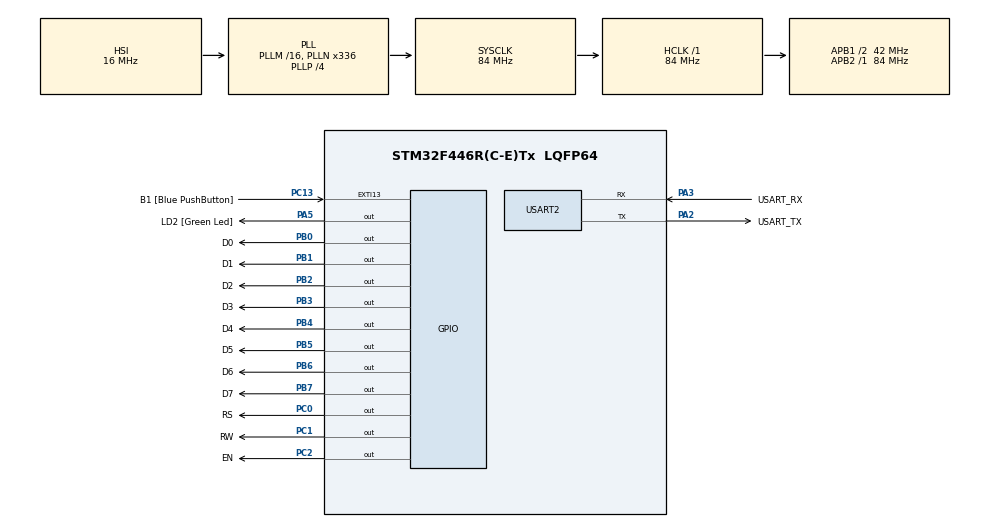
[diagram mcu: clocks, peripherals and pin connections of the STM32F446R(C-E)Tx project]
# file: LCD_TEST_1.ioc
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Mcu.Family=STM32F4
Mcu.Name=STM32F446R(C-E)Tx
Mcu.Package=LQFP64
NVIC.PriorityGroup=NVIC_PRIORITYGROUP_0
PA13.GPIO_Label=TMS
PA13.Mode=Serial_Wire
PA13.Signal=SYS_JTMS-SWDIO
PA14.GPIO_Label=TCK
PA14.Mode=Serial_Wire
PA14.Signal=SYS_JTCK-SWCLK
PA2.GPIO_Label=USART_TX
PA2.Mode=Asynchronous
PA2.Signal=USART2_TX
PA3.GPIO_Label=USART_RX
PA3.Mode=Asynchronous
PA3.Signal=USART2_RX
PA5.GPIO_Label=LD2 [Green Led]
PA5.Signal=GPIO_Output
PB0.GPIO_Label=D0
PB0.Signal=GPIO_Output
PB1.GPIO_Label=D1
PB1.Signal=GPIO_Output
PB2.GPIO_Label=D2
PB2.Signal=GPIO_Output
PB3.GPIO_Label=D3
PB3.Signal=GPIO_Output
PB4.GPIO_Label=D4
PB4.Signal=GPIO_Output
PB5.GPIO_Label=D5
PB5.Signal=GPIO_Output
PB6.GPIO_Label=D6
PB6.Signal=GPIO_Output
PB7.GPIO_Label=D7
PB7.Signal=GPIO_Output
PC0.GPIO_Label=RS
PC0.Signal=GPIO_Output
PC1.GPIO_Label=RW
PC1.Signal=GPIO_Output
PC13.GPIO_Label=B1 [Blue PushButton]
PC13.GPIO_ModeDefaultEXTI=GPIO_MODE_IT_FALLING
PC13.Signal=GPXTI13
PC14-OSC32_IN.Mode=LSE-External-Oscillator
PC14-OSC32_IN.Signal=RCC_OSC32_IN
PC15-OSC32_OUT.Mode=LSE-External-Oscillator
PC15-OSC32_OUT.Signal=RCC_OSC32_OUT
PC2.GPIO_Label=EN
PC2.Signal=GPIO_Output
PH0-OSC_IN.Mode=HSE-External-Oscillator
PH0-OSC_IN.Signal=RCC_OSC_IN
PH1-OSC_OUT.Mode=HSE-External-Oscillator
PH1-OSC_OUT.Signal=RCC_OSC_OUT
ProjectManager.HeapSize=0x200
ProjectManager.StackSize=0x400
ProjectManager.TargetToolchain=STM32CubeIDE
RCC.48MHZClocksFreq_Value=84000000
RCC.AHBFreq_Value=84000000
RCC.APB1CLKDivider=RCC_HCLK_DIV2
RCC.APB1Freq_Value=42000000
RCC.APB1TimFreq_Value=84000000
RCC.APB2Freq_Value=84000000
RCC.APB2TimFreq_Value=84000000
RCC.CortexFreq_Value=84000000
RCC.FLatency-AdvancedSettings=FLASH_LATENCY_2
RCC.HCLKFreq_Value=84000000
RCC.HSE_VALUE=8000000
RCC.HSI_VALUE=16000000
RCC.PLLN=336
RCC.PLLP=RCC_PLLP_DIV4
RCC.SYSCLKFreq_VALUE=84000000
RCC.SYSCLKSource=RCC_SYSCLKSOURCE_PLLCLK
RCC.USBFreq_Value=168000000
RCC.VCOOutputFreq_Value=336000000
USART2.VirtualMode=VM_ASYNC
board=NUCLEO-F446RE

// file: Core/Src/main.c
/* USER CODE BEGIN Header */
/**
  ******************************************************************************
  * @file           : main.c
  * @brief          : Main program body
  ******************************************************************************
  * @attention
  *
  * Copyright (c) 2023 STMicroelectronics.
  * All rights reserved.
  *
  * This software is licensed under terms that can be found in the LICENSE file
  * in the root directory of this software component.
  * If no LICENSE file comes with this software, it is provided AS-IS.
  *
  ******************************************************************************
  */
/* USER CODE END Header */
#include "main.h"

/* USER CODE BEGIN PTD */
typedef union {

	struct {

		uint8_t b0:1;
		uint8_t b1:1;
		uint8_t b2:1;
		uint8_t b3:1;
		uint8_t b4:1;
		uint8_t b5:1;
		uint8_t b6:1;
		uint8_t b7:1;

	};

	uint8_t x;
}Typedef_PinConfig;
/* USER CODE END PTD */

UART_HandleTypeDef huart2;

void SystemClock_Config(void);
static void MX_GPIO_Init(void);
static void MX_USART2_UART_Init(void);
/* USER CODE BEGIN PFP */
void data_write(uint8_t d);
void lcd_data(uint8_t data);
void lcd_cmd(uint8_t cmd);
void lcd_init( void );
/* USER CODE END PFP */

int main(void)
{

  /* MCU Configuration--------------------------------------------------------*/

  /* Reset of all peripherals, Initializes the Flash interface and the Systick. */
  HAL_Init();

  /* Configure the system clock */
  SystemClock_Config();

  /* Initialize all configured peripherals */
  MX_GPIO_Init();
  MX_USART2_UART_Init();
  /* USER CODE BEGIN 2 */
  lcd_init();
  /* USER CODE END 2 */

  /* Infinite loop */
  /* USER CODE BEGIN WHILE */
  while (1)
  {
	  lcd_data('A');
    /* USER CODE END WHILE */

  }
}

void SystemClock_Config(void)
{
  RCC_OscInitTypeDef RCC_OscInitStruct = {0};
  RCC_ClkInitTypeDef RCC_ClkInitStruct = {0};

  /** Configure the main internal regulator output voltage
  */
  __HAL_RCC_PWR_CLK_ENABLE();
  __HAL_PWR_VOLTAGESCALING_CONFIG(PWR_REGULATOR_VOLTAGE_SCALE3);

  /** Initializes the RCC Oscillators according to the specified parameters
  * in the RCC_OscInitTypeDef structure.
  */
  RCC_OscInitStruct.OscillatorType = RCC_OSCILLATORTYPE_HSI;
  RCC_OscInitStruct.HSIState = RCC_HSI_ON;
  RCC_OscInitStruct.HSICalibrationValue = RCC_HSICALIBRATION_DEFAULT;
  RCC_OscInitStruct.PLL.PLLState = RCC_PLL_ON;
  RCC_OscInitStruct.PLL.PLLSource = RCC_PLLSOURCE_HSI;
  RCC_OscInitStruct.PLL.PLLM = 16;
  RCC_OscInitStruct.PLL.PLLN = 336;
  RCC_OscInitStruct.PLL.PLLP = RCC_PLLP_DIV4;
  RCC_OscInitStruct.PLL.PLLQ = 2;
  RCC_OscInitStruct.PLL.PLLR = 2;
  if (HAL_RCC_OscConfig(&RCC_OscInitStruct) != HAL_OK)
  {
    Error_Handler();
  }

  /** Initializes the CPU, AHB and APB buses clocks
  */
  RCC_ClkInitStruct.ClockType = RCC_CLOCKTYPE_HCLK|RCC_CLOCKTYPE_SYSCLK
                              |RCC_CLOCKTYPE_PCLK1|RCC_CLOCKTYPE_PCLK2;
  RCC_ClkInitStruct.SYSCLKSource = RCC_SYSCLKSOURCE_PLLCLK;
  RCC_ClkInitStruct.AHBCLKDivider = RCC_SYSCLK_DIV1;
  RCC_ClkInitStruct.APB1CLKDivider = RCC_HCLK_DIV2;
  RCC_ClkInitStruct.APB2CLKDivider = RCC_HCLK_DIV1;

  if (HAL_RCC_ClockConfig(&RCC_ClkInitStruct, FLASH_LATENCY_2) != HAL_OK)
  {
    Error_Handler();
  }
}

static void MX_USART2_UART_Init(void)
{

  huart2.Instance = USART2;
  huart2.Init.BaudRate = 115200;
  huart2.Init.WordLength = UART_WORDLENGTH_8B;
  huart2.Init.StopBits = UART_STOPBITS_1;
  huart2.Init.Parity = UART_PARITY_NONE;
  huart2.Init.Mode = UART_MODE_TX_RX;
  huart2.Init.HwFlowCtl = UART_HWCONTROL_NONE;
  huart2.Init.OverSampling = UART_OVERSAMPLING_16;
  if (HAL_UART_Init(&huart2) != HAL_OK)
  {
    Error_Handler();
  }

}

static void MX_GPIO_Init(void)
{
  GPIO_InitTypeDef GPIO_InitStruct = {0};

  /* GPIO Ports Clock Enable */
  __HAL_RCC_GPIOC_CLK_ENABLE();
  __HAL_RCC_GPIOH_CLK_ENABLE();
  __HAL_RCC_GPIOA_CLK_ENABLE();
  __HAL_RCC_GPIOB_CLK_ENABLE();

  /*Configure GPIO pin Output Level */
  HAL_GPIO_WritePin(GPIOC, RS_Pin|RW_Pin|EN_Pin, GPIO_PIN_RESET);

  /*Configure GPIO pin Output Level */
  HAL_GPIO_WritePin(LD2_GPIO_Port, LD2_Pin, GPIO_PIN_RESET);

  /*Configure GPIO pin Output Level */
  HAL_GPIO_WritePin(GPIOB, D0_Pin|D1_Pin|D2_Pin|D3_Pin
                          |D4_Pin|D5_Pin|D6_Pin|D7_Pin, GPIO_PIN_RESET);

  /*Configure GPIO pin : B1_Pin */
  GPIO_InitStruct.Pin = B1_Pin;
  GPIO_InitStruct.Mode = GPIO_MODE_IT_FALLING;
  GPIO_InitStruct.Pull = GPIO_NOPULL;
  HAL_GPIO_Init(B1_GPIO_Port, &GPIO_InitStruct);

  /*Configure GPIO pins : RS_Pin RW_Pin EN_Pin */
  GPIO_InitStruct.Pin = RS_Pin|RW_Pin|EN_Pin;
  GPIO_InitStruct.Mode = GPIO_MODE_OUTPUT_PP;
  GPIO_InitStruct.Pull = GPIO_NOPULL;
  GPIO_InitStruct.Speed = GPIO_SPEED_FREQ_LOW;
  HAL_GPIO_Init(GPIOC, &GPIO_InitStruct);

  /*Configure GPIO pin : LD2_Pin */
  GPIO_InitStruct.Pin = LD2_Pin;
  GPIO_InitStruct.Mode = GPIO_MODE_OUTPUT_PP;
  GPIO_InitStruct.Pull = GPIO_NOPULL;
  GPIO_InitStruct.Speed = GPIO_SPEED_FREQ_LOW;
  HAL_GPIO_Init(LD2_GPIO_Port, &GPIO_InitStruct);

  /*Configure GPIO pins : D0_Pin D1_Pin D2_Pin D3_Pin
                           D4_Pin D5_Pin D6_Pin D7_Pin */
  GPIO_InitStruct.Pin = D0_Pin|D1_Pin|D2_Pin|D3_Pin
                          |D4_Pin|D5_Pin|D6_Pin|D7_Pin;
  GPIO_InitStruct.Mode = GPIO_MODE_OUTPUT_PP;
  GPIO_InitStruct.Pull = GPIO_NOPULL;
  GPIO_InitStruct.Speed = GPIO_SPEED_FREQ_LOW;
  HAL_GPIO_Init(GPIOB, &GPIO_InitStruct);

}

/* USER CODE BEGIN 4 */
void data_write(uint8_t d){

	Typedef_PinConfig y = (Typedef_PinConfig)d;

	HAL_GPIO_WritePin(GPIOB, D0_Pin, y.b0);
	HAL_GPIO_WritePin(GPIOB, D1_Pin, y.b1);
	HAL_GPIO_WritePin(GPIOB, D2_Pin, y.b2);
	HAL_GPIO_WritePin(GPIOB, D3_Pin, y.b3);
	HAL_GPIO_WritePin(GPIOB, D4_Pin, y.b4);
	HAL_GPIO_WritePin(GPIOB, D5_Pin, y.b5);
	HAL_GPIO_WritePin(GPIOB, D6_Pin, y.b6);
	HAL_GPIO_WritePin(GPIOB, D7_Pin, y.b7);

}

void lcd_data(uint8_t data){

	HAL_GPIO_WritePin(GPIOC,RS_Pin	,1);
	data_write(data);
	HAL_GPIO_WritePin(GPIOC,RW_Pin	,0);
	HAL_GPIO_WritePin(GPIOC,RS_Pin	,1);
	HAL_Delay(5);
	HAL_GPIO_WritePin(GPIOC,RS_Pin	,0);
	HAL_Delay(5);

}
void lcd_cmd(uint8_t cmd){

	HAL_GPIO_WritePin(GPIOC,RS_Pin	,0);
	data_write(cmd);
	HAL_GPIO_WritePin(GPIOC,RW_Pin	,0);
	HAL_GPIO_WritePin(GPIOC,RS_Pin	,1);
	HAL_Delay(5);
	HAL_GPIO_WritePin(GPIOC,RS_Pin	,0);
	HAL_Delay(5);
}
void lcd_init( void ){

	lcd_cmd(0x01);
	lcd_cmd(0x02);
	lcd_cmd(0x06);
	lcd_cmd(0x38);
	lcd_cmd(0x0c);

}

/* USER CODE END 4 */

void Error_Handler(void)
{
  __disable_irq();
  while (1)
  {
  }
}
